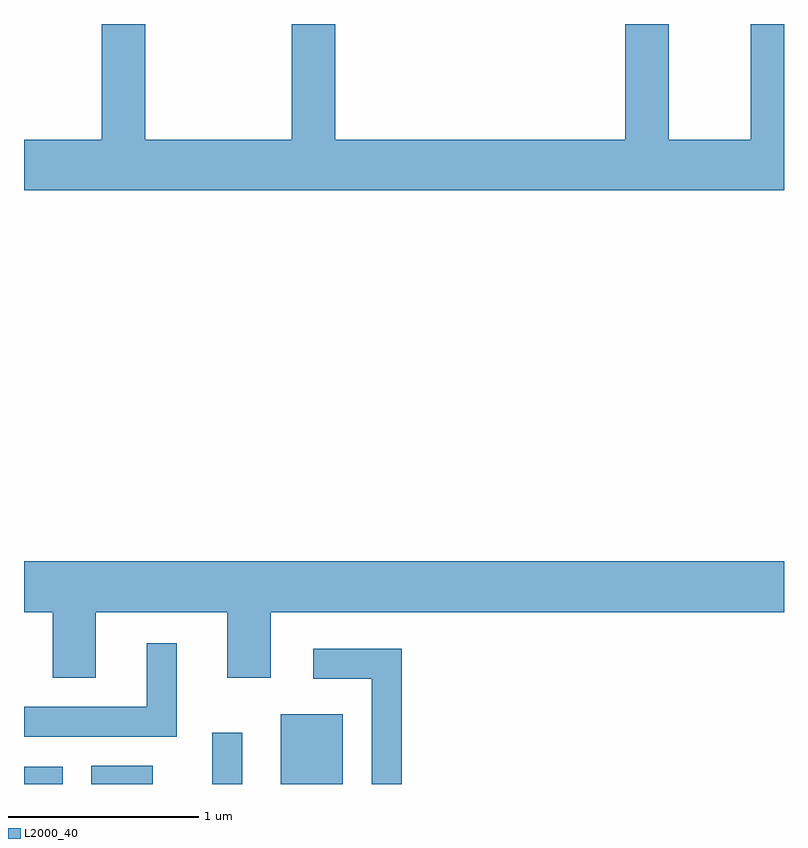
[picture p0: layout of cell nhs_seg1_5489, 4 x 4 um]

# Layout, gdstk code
import gdstk
lib = gdstk.Library(unit=1e-6, precision=1e-09)
def R(c, l, rs):  # rectangles x0, y0, x1, y1
    for r in rs: c.add(gdstk.rectangle(r[:2], r[2:], *l))
def P(c, l, *ps):  # polygons
    for p in ps: c.add(gdstk.Polygon(p, *l))
L2000_40 = (2000, 40)

nhs_seg1_5489 = lib.new_cell('nhs_seg1_5489')
R(nhs_seg1_5489, L2000_40, [(349.611,969.712,349.814,969.804), (349.966,969.712,350.289,969.809), (350.601,969.712,350.759,969.983), (350.961,969.712,351.289,970.079)])
P(nhs_seg1_5489, L2000_40, [(353.611,973.712),(353.436,973.712),(353.436,973.104),(353.004,973.104),(353.004,973.712),(352.776,973.712),(352.776,973.104),(351.249,973.104),(351.249,973.712),(351.021,973.712),(351.021,973.104),(350.249,973.104),(350.249,973.712),(350.021,973.712),(350.021,973.104),(349.611,973.104),(349.611,972.836),(353.611,972.836)],
  [(349.989,970.616),(350.681,970.616),(350.681,970.271),(350.909,970.271),(350.909,970.616),(353.611,970.616),(353.611,970.884),(349.611,970.884),(349.611,970.616),(349.761,970.616),(349.761,970.271),(349.989,970.271)],
  [(350.414,970.453),(350.256,970.453),(350.256,970.119),(349.611,970.119),(349.611,969.961),(350.414,969.961)],
  [(351.599,970.424),(351.133,970.424),(351.133,970.266),(351.441,970.266),(351.441,969.712),(351.599,969.712)])

lib.write_gds('nhs_seg1_5489.gds')
